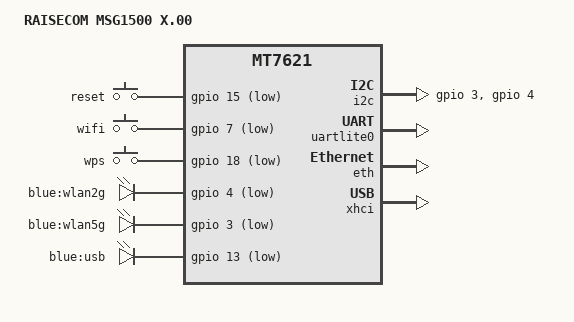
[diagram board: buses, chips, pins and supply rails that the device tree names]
// SPDX-License-Identifier: GPL-2.0+

/dts-v1/;
#include "mt7621.dtsi"

#include <dt-bindings/gpio/gpio.h>
#include <dt-bindings/input/input.h>

/ {
	model = "RAISECOM MSG1500 X.00";
	compatible = "raisecom,msg1500-x00", "mediatek,mt7621-soc";

	chosen {
		stdout-path = &uartlite0;
	};

	config {
		reset-button = "reset";
		wps-button = "wps";
		status1-led = "blue:usb";
	};

	keys {
		compatible = "gpio-keys";

		reset {
			label = "reset";
			gpios = <&gpio 15 GPIO_ACTIVE_LOW>;
			linux,code = <KEY_RESTART>;
		};

		wifi {
			label = "wifi";
			gpios = <&gpio 7 GPIO_ACTIVE_LOW>;
			linux,code = <KEY_RFKILL>;
		};

		wps {
			label = "wps";
			gpios = <&gpio 18 GPIO_ACTIVE_LOW>;
			linux,code = <KEY_WPS_BUTTON>;
		};
	};

	leds {
		compatible = "gpio-leds";

		wlan2g {
			label = "blue:wlan2g";
			gpios = <&gpio 4 GPIO_ACTIVE_LOW>;
			default-state = "off";
		};

		wlan5g {
			label = "blue:wlan5g";
			gpios = <&gpio 3 GPIO_ACTIVE_LOW>;
			default-state = "off";
		};

		usb {
			label = "blue:usb";
			gpios = <&gpio 13 GPIO_ACTIVE_LOW>;
			default-state = "on";
		};
	};
};

&pinctrl {
	state_default: pinmux_conf {
		spi {
			groups = "spi";
			function = "nand1";
		};

		sdhci {
			groups = "sdhci";
			function = "nand2";
		};

		jtag {
			groups = "jtag";
			function = "gpio";
		};

		wdt {
			groups = "wdt";
			function = "gpio";
		};
	};
};

&gpio {
	status = "okay";
};

&i2c {
	gpios = <&gpio 3 1>, /* PIN3 as SDA */
		<&gpio 4 1>; /* PIN4 as CLK */
};

&uartlite0 {
	status = "okay";
};

&eth {
	status = "okay";
};

&xhci {
	status = "okay";
};
